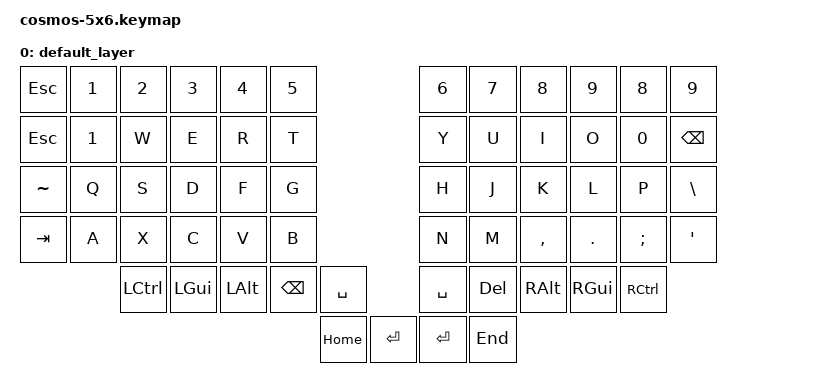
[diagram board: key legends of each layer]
#include <behaviors.dtsi>
#include <dt-bindings/zmk/keys.h>
#include <dt-bindings/zmk/bt.h>
#include <dt-bindings/zmk/outputs.h>

#define DEFAULT 0
#define MAC     1
#define LOWER   2
#define RAISE   3
#define ADJUST  4

#define HYPER(key) LS(LC(LA(LG(key))))
#define MEH(key)   LS(LC(LA(key)))

&sl {
    release-after-ms = <5000>;
};


&kscan0 {
    debounce-press-ms = <30>;
    debounce-release-ms = <30>;
};

/ {
    keymap {
        compatible = "zmk,keymap";

        default_layer {
            bindings = <
    &kp ESC   &kp N1    &kp N2    &kp N3    &kp N4    &kp N5                                                &kp N6    &kp N7    &kp N8    &kp N9    &kp N8   &kp N9
    &kp ESC   &kp N1    &kp W     &kp E     &kp R     &kp T                                                 &kp Y     &kp U     &kp I     &kp O     &kp N0   &kp BSPC
    &kp TILDE &kp Q     &kp S     &kp D     &kp F     &kp G                                                 &kp H     &kp J     &kp K     &kp L     &kp P    &kp BSLH
    &kp TAB   &kp A     &kp X     &kp C     &kp V     &kp B                                                 &kp N     &kp M     &kp COMMA &kp DOT   &kp SEMI &kp SQT
                        &kp LCTRL &kp LGUI            &kp LALT  &kp BSPC   &kp SPACE    &kp SPACE &kp DEL   &kp RALT            &kp RGUI  &kp RCTRL 
                                                                &kp HOME   &kp ENTER    &kp ENTER &kp END
            >;
        };
    };
};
